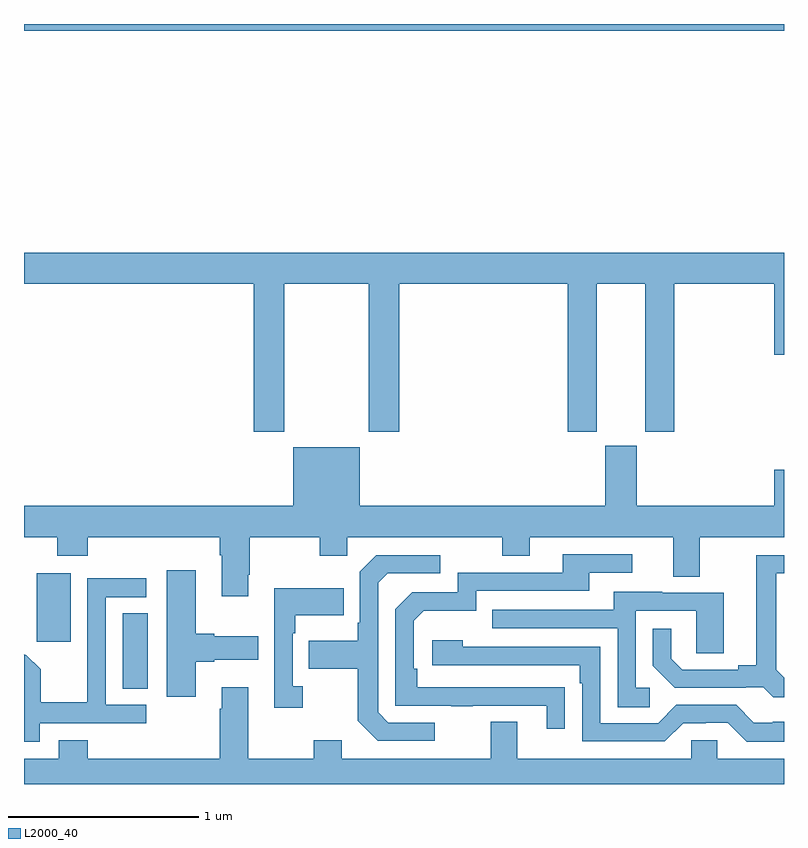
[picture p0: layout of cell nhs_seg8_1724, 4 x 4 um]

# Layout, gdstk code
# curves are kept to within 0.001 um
import gdstk
lib = gdstk.Library(unit=1e-6, precision=1e-09)
def R(c, l, rs):  # rectangles x0, y0, x1, y1
    for r in rs: c.add(gdstk.rectangle(r[:2], r[2:], *l))
def P(c, l, *ps):  # polygons
    for p in ps: c.add(gdstk.Polygon(p, *l))
L2000_40 = (2000, 40)

nhs_seg8_1724 = lib.new_cell('nhs_seg8_1724')
R(nhs_seg8_1724, L2000_40, [(221.519,1082.401,221.65,1082.798), (221.066,1082.649,221.245,1083.01), (221,1085.864,225,1085.9)])
P(nhs_seg8_1724, L2000_40, [(221,1084.532),(222.209,1084.532),(222.209,1083.753),(222.369,1083.753),(222.369,1084.532),(222.814,1084.532),(222.814,1083.753),(222.974,1083.753),(222.974,1084.532),(223.862,1084.532),(223.862,1083.753),(224.014,1083.753),(224.014,1084.532),(224.27,1084.532),(224.27,1083.753),(224.423,1083.753),(224.423,1084.532),(224.948,1084.532),(224.948,1084.158),(225,1084.158),(225,1084.696),(221,1084.696)],
  [(222.181,1083.001),(222.189,1083.001),(222.189,1083.2),(222.556,1083.2),(222.556,1083.101),(222.702,1083.101),(222.702,1083.2),(223.516,1083.2),(223.516,1083.101),(223.663,1083.101),(223.663,1083.2),(224.417,1083.2),(224.417,1082.992),(224.557,1082.992),(224.557,1083.2),(225,1083.2),(225,1083.553),(224.948,1083.553),(224.948,1083.364),(224.224,1083.364),(224.224,1083.681),(224.06,1083.681),(224.06,1083.364),(222.766,1083.364),(222.766,1083.673),(222.416,1083.673),(222.416,1083.364),(221,1083.364),(221,1083.2),(221.176,1083.2),(221.176,1083.101),(221.336,1083.101),(221.336,1083.2),(222.029,1083.2),(222.029,1083.104),(222.041,1083.104),(222.041,1082.889),(222.181,1082.889)],
  [(223.847,1082.408),(223.07,1082.409),(223.07,1082.506),(223.05,1082.506),(223.05,1082.76),(223.103,1082.813),(223.38,1082.813),(223.38,1082.916),(223.975,1082.916),(223.975,1083.012),(224.2,1083.012),(224.2,1083.108),(223.835,1083.108),(223.835,1083.012),(223.284,1083.012),(223.284,1082.91),(223.044,1082.91),(222.954,1082.82),(222.954,1082.313),(223.249,1082.313),(223.249,1082.308),(223.361,1082.308),(223.361,1082.313),(223.751,1082.313),(223.751,1082.19),(223.847,1082.19)],
  [(223.162,1082.223),(222.918,1082.223),(222.864,1082.277),(222.864,1082.958),(222.915,1083.009),(223.192,1083.009),(223.192,1083.105),(222.855,1083.105),(222.768,1083.018),(222.768,1082.749),(222.756,1082.749),(222.756,1082.653),(222.499,1082.653),(222.499,1082.506),(222.756,1082.506),(222.756,1082.233),(222.861,1082.127),(223.162,1082.127)],
  [(225,1082.46),(224.959,1082.501),(224.959,1083.009),(225,1083.009),(225,1083.105),(224.855,1083.105),(224.855,1082.525),(224.759,1082.525),(224.759,1082.502),(224.464,1082.502),(224.407,1082.559),(224.407,1082.716),(224.31,1082.716),(224.31,1082.522),(224.426,1082.406),(224.798,1082.406),(224.798,1082.409),(224.892,1082.409),(224.944,1082.357),(225,1082.357)],
  [(221.905,1082.543),(222.001,1082.543),(222.001,1082.555),(222.232,1082.555),(222.232,1082.677),(222.001,1082.677),(222.001,1082.69),(221.905,1082.69),(221.905,1083.025),(221.75,1083.025),(221.75,1082.358),(221.905,1082.358)],
  [(221.082,1082.22),(221.644,1082.22),(221.644,1082.316),(221.43,1082.316),(221.43,1082.883),(221.644,1082.883),(221.644,1082.982),(221.334,1082.982),(221.334,1082.552),(221.332,1082.552),(221.332,1082.329),(221.087,1082.329),(221.087,1082.503),(221.01,1082.58),(221.007,1082.577),(221,1082.584),(221,1082.123),(221.082,1082.123)],
  [(222.466,1082.414),(222.414,1082.414),(222.414,1082.693),(222.427,1082.693),(222.427,1082.789),(222.683,1082.789),(222.683,1082.929),(222.318,1082.929),(222.318,1082.301),(222.466,1082.301)],
  [(224.293,1082.406),(224.22,1082.406),(224.22,1082.811),(224.538,1082.811),(224.538,1082.587),(224.683,1082.587),(224.683,1082.907),(224.359,1082.907),(224.359,1082.911),(224.105,1082.911),(224.105,1082.817),(223.465,1082.817),(223.465,1082.721),(224.124,1082.721),(224.124,1082.305),(224.293,1082.305)],
  [(225,1082.227),(224.941,1082.227),(224.941,1082.223),(224.841,1082.223),(224.748,1082.316),(224.433,1082.316),(224.337,1082.22),(224.034,1082.22),(224.034,1082.622),(223.31,1082.622),(223.31,1082.656),(223.149,1082.656),(223.149,1082.526),(223.925,1082.526),(223.925,1082.429),(223.938,1082.429),(223.938,1082.124),(224.373,1082.124),(224.469,1082.22),(224.588,1082.22),(224.588,1082.223),(224.703,1082.223),(224.803,1082.123),(225,1082.123)],
  [(225,1082.032),(224.649,1082.032),(224.649,1082.13),(224.511,1082.13),(224.511,1082.032),(223.597,1082.032),(223.597,1082.227),(223.457,1082.227),(223.457,1082.032),(222.673,1082.032),(222.673,1082.131),(222.526,1082.131),(222.526,1082.032),(222.181,1082.032),(222.181,1082.41),(222.041,1082.41),(222.041,1082.297),(222.029,1082.297),(222.029,1082.032),(221.336,1082.032),(221.336,1082.131),(221.183,1082.131),(221.183,1082.032),(221,1082.032),(221,1081.9),(225,1081.9)])

lib.write_gds('nhs_seg8_1724.gds')
